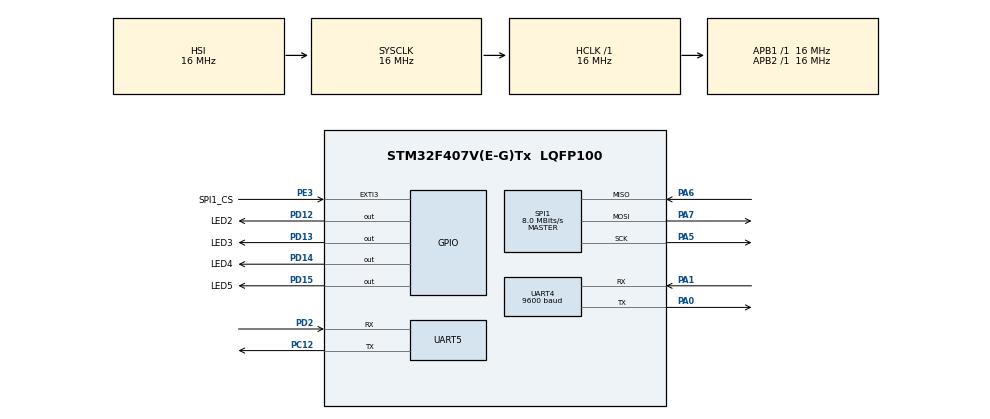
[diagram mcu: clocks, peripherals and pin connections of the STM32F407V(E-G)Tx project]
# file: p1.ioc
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Mcu.Family=STM32F4
Mcu.Name=STM32F407V(E-G)Tx
Mcu.Package=LQFP100
NVIC.PriorityGroup=NVIC_PRIORITYGROUP_4
NVIC.SPI1_IRQn=true\:0\:0\:false\:false\:true\:true\:true\:true
PA0-WKUP.Mode=Asynchronous
PA0-WKUP.Signal=UART4_TX
PA1.Mode=Asynchronous
PA1.Signal=UART4_RX
PA13.Mode=Serial_Wire
PA13.Signal=SYS_JTMS-SWDIO
PA14.Mode=Serial_Wire
PA14.Signal=SYS_JTCK-SWCLK
PA5.Mode=Full_Duplex_Master
PA5.Signal=SPI1_SCK
PA6.Mode=Full_Duplex_Master
PA6.Signal=SPI1_MISO
PA7.Mode=Full_Duplex_Master
PA7.Signal=SPI1_MOSI
PC12.Mode=Asynchronous
PC12.Signal=UART5_TX
PD12.GPIO_Label=LED2
PD12.Signal=GPIO_Output
PD13.GPIO_Label=LED3
PD13.Signal=GPIO_Output
PD14.GPIO_Label=LED4
PD14.Signal=GPIO_Output
PD15.GPIO_Label=LED5
PD15.Signal=GPIO_Output
PD2.Mode=Asynchronous
PD2.Signal=UART5_RX
PE3.GPIO_Label=SPI1_CS
PE3.GPIO_PuPd=GPIO_PULLUP
PE3.Signal=GPXTI3
ProjectManager.HeapSize=0x200
ProjectManager.StackSize=0x400
ProjectManager.TargetToolchain=STM32CubeIDE
RCC.AHBFreq_Value=16000000
RCC.APB1Freq_Value=16000000
RCC.APB2Freq_Value=16000000
RCC.CortexFreq_Value=16000000
RCC.HSE_VALUE=25000000
RCC.HSI_VALUE=16000000
RCC.LSE_VALUE=32768
RCC.SYSCLKFreq_VALUE=16000000
RCC.VCOOutputFreq_Value=192000000
SPI1.CalculateBaudRate=8.0 MBits/s
SPI1.Direction=SPI_DIRECTION_2LINES
SPI1.Mode=SPI_MODE_MASTER
SPI1.VirtualType=VM_MASTER
UART4.BaudRate=9600
UART4.VirtualMode=Asynchronous
UART5.VirtualMode=Asynchronous
board=custom

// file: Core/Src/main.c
/* USER CODE BEGIN Header */
/**
  ******************************************************************************
  * @file           : main.c
  * @brief          : Main program body with UART4 for GPS reception (baud rate 9600)
  *                   and UART5 for ESP32 transmission.
  ******************************************************************************
  * @attention
  *
  * Copyright (c) 2024 STMicroelectronics.
  * All rights reserved.
  *
  * This software is licensed under terms that can be found in the LICENSE file
  * in the root directory of this software component.
  * If no LICENSE file comes with this software, it is provided AS-IS.
  *
  ******************************************************************************
  */
/* USER CODE END Header */
#include "main.h"

/* USER CODE BEGIN Includes */
#include "string.h"
#include <stdio.h>
/* USER CODE END Includes */

/* USER CODE BEGIN PD */
#define ACCEL_THRESHOLD 100  // Define your threshold value here
/* USER CODE END PD */

SPI_HandleTypeDef hspi1;
UART_HandleTypeDef huart4;  // For receiving GPS data from Arduino Uno
UART_HandleTypeDef huart5;  // For transmitting data to ESP32

/* USER CODE BEGIN PV */
uint8_t txbuffer[2];
uint8_t Rx_X;
uint8_t Rx_Y;
uint8_t Rx_Z;
char charbuffer[100];  // Increased buffer size to avoid overflow warnings
/* USER CODE END PV */

void SystemClock_Config(void);
static void MX_GPIO_Init(void);
static void MX_SPI1_Init(void);
static void MX_UART4_Init(void);
static void MX_UART5_Init(void);

int main(void)
{

  /* MCU Configuration--------------------------------------------------------*/
  HAL_Init();

  SystemClock_Config();

  MX_GPIO_Init();
  MX_SPI1_Init();
  MX_UART4_Init();  // For receiving GPS data from Arduino Uno (baud rate 9600)
  MX_UART5_Init();  // For transmitting data to ESP32

  /* USER CODE BEGIN 2 */
  /* Initial configuration of the sensor (SPI setup) */
  HAL_GPIO_WritePin(SPI1_CS_GPIO_Port, SPI1_CS_Pin, GPIO_PIN_RESET); // CS Pulled Low
  txbuffer[0] = 0x20; // Control Register 4
  txbuffer[1] = 0x37; // Configuration data
  HAL_SPI_Transmit(&hspi1, txbuffer, 2, 50);
  HAL_GPIO_WritePin(SPI1_CS_GPIO_Port, SPI1_CS_Pin, GPIO_PIN_SET); // CS Pulled High
  /* USER CODE END 2 */

  /* Infinite loop */
  /* USER CODE BEGIN WHILE */
  while (1)
  {
      /* --- Read Accelerometer Data via SPI --- */

      // Read the OUT_X register
      HAL_GPIO_WritePin(GPIOE, SPI1_CS_Pin, GPIO_PIN_RESET); // CS Pulled Low
      txbuffer[0] = 0x29 | 0x80; // Read operation (MSB = 1)
      HAL_SPI_Transmit(&hspi1, txbuffer, 1, 50);
      HAL_SPI_Receive(&hspi1, &Rx_X, 1, 50);
      HAL_GPIO_WritePin(GPIOE, SPI1_CS_Pin, GPIO_PIN_SET); // CS Pulled High

      // Read the OUT_Y register
      HAL_GPIO_WritePin(GPIOE, SPI1_CS_Pin, GPIO_PIN_RESET); // CS Pulled Low
      txbuffer[0] = 0x2B | 0x80; // Read operation (MSB = 1)
      HAL_SPI_Transmit(&hspi1, txbuffer, 1, 50);
      HAL_SPI_Receive(&hspi1, &Rx_Y, 1, 50);
      HAL_GPIO_WritePin(GPIOE, SPI1_CS_Pin, GPIO_PIN_SET); // CS Pulled High

      // Read the OUT_Z register
      HAL_GPIO_WritePin(GPIOE, SPI1_CS_Pin, GPIO_PIN_RESET); // CS Pulled Low
      txbuffer[0] = 0x2D | 0x80; // Read operation (MSB = 1)
      HAL_SPI_Transmit(&hspi1, txbuffer, 1, 50);
      HAL_SPI_Receive(&hspi1, &Rx_Z, 1, 50);
      HAL_GPIO_WritePin(GPIOE, SPI1_CS_Pin, GPIO_PIN_SET); // CS Pulled High

      /* --- Check Accelerometer Threshold --- */
      if (Rx_X > ACCEL_THRESHOLD || Rx_Y > ACCEL_THRESHOLD || Rx_Z > ACCEL_THRESHOLD)
      {
          // Accident detected!
          // Receive GPS location data from Arduino Uno via UART4.
          char gpsBuffer[100] = {0};
          // Using a blocking receive (timeout: 1000ms). Adjust as necessary.
          HAL_UART_Receive(&huart4, (uint8_t *)gpsBuffer, sizeof(gpsBuffer) - 1, 1000);

          // Prepare the accident message including the GPS location.
          sprintf(charbuffer, "Accident happened at %s\r\n", gpsBuffer);
          printf("Accident Happened %s\n", gpsBuffer);
          // Transmit the message to the ESP32 using UART5.
          HAL_UART_Transmit(&huart5, (uint8_t *)charbuffer, strlen(charbuffer), 100);
      }
      /*
      else
      {
          // No accident: send the current accelerometer data to ESP32.
          sprintf(charbuffer, "You are alive!\n");
          HAL_UART_Transmit(&huart5, (uint8_t *)charbuffer, strlen(charbuffer), 50);
      }
      */
      bzero(charbuffer, sizeof(charbuffer));

      /* --- LED Motion : Quadrant --- */
      if (Rx_X == 0 && Rx_Y == 0 && Rx_Z == 64)
      {
          HAL_GPIO_WritePin(GPIOD, LED2_Pin, GPIO_PIN_SET);
          HAL_GPIO_WritePin(GPIOD, LED3_Pin, GPIO_PIN_SET);
          HAL_GPIO_WritePin(GPIOD, LED4_Pin, GPIO_PIN_SET);
          HAL_GPIO_WritePin(GPIOD, LED5_Pin, GPIO_PIN_SET);
          HAL_Delay(100);
      }
      if ((Rx_X > 0 && Rx_X <= 188))
      {
          HAL_GPIO_WritePin(GPIOD, LED2_Pin, GPIO_PIN_RESET);
          HAL_GPIO_WritePin(GPIOD, LED4_Pin, GPIO_PIN_SET);
          HAL_Delay(100);
      }
      if ((Rx_X > 188 && Rx_X <= 255))
      {
          HAL_GPIO_WritePin(GPIOD, LED2_Pin, GPIO_PIN_SET);
          HAL_GPIO_WritePin(GPIOD, LED4_Pin, GPIO_PIN_RESET);
          HAL_Delay(100);
      }
      if ((Rx_Y > 0 && Rx_Y <= 188))
      {
          HAL_GPIO_WritePin(GPIOD, LED3_Pin, GPIO_PIN_SET);
          HAL_GPIO_WritePin(GPIOD, LED5_Pin, GPIO_PIN_RESET);
          HAL_Delay(100);
      }
      if ((Rx_Y > 188 && Rx_Y <= 255))
      {
          HAL_GPIO_WritePin(GPIOD, LED3_Pin, GPIO_PIN_RESET);
          HAL_GPIO_WritePin(GPIOD, LED5_Pin, GPIO_PIN_SET);
          HAL_Delay(100);
      }

      /* --- LED Motion : Axis --- */
      if (Rx_X == 0 && Rx_Y == 0 && Rx_Z == 64)
      {
          HAL_GPIO_WritePin(GPIOD, LED2_Pin, GPIO_PIN_SET);
          HAL_GPIO_WritePin(GPIOD, LED3_Pin, GPIO_PIN_SET);
          HAL_GPIO_WritePin(GPIOD, LED4_Pin, GPIO_PIN_SET);
          HAL_GPIO_WritePin(GPIOD, LED5_Pin, GPIO_PIN_SET);
      }
      if (Rx_X > 10)
      {
          HAL_GPIO_WritePin(GPIOD, LED2_Pin, GPIO_PIN_SET);
          HAL_GPIO_WritePin(GPIOD, LED3_Pin, GPIO_PIN_RESET);
          HAL_GPIO_WritePin(GPIOD, LED4_Pin, GPIO_PIN_SET);
          HAL_GPIO_WritePin(GPIOD, LED5_Pin, GPIO_PIN_RESET);
      }
      if (Rx_Y > 10)
      {
          HAL_GPIO_WritePin(GPIOD, LED2_Pin, GPIO_PIN_RESET);
          HAL_GPIO_WritePin(GPIOD, LED3_Pin, GPIO_PIN_SET);
          HAL_GPIO_WritePin(GPIOD, LED4_Pin, GPIO_PIN_RESET);
          HAL_GPIO_WritePin(GPIOD, LED5_Pin, GPIO_PIN_SET);
      }
  /* USER CODE END WHILE */

  }
}

void SystemClock_Config(void)
{
  RCC_OscInitTypeDef RCC_OscInitStruct = {0};
  RCC_ClkInitTypeDef RCC_ClkInitStruct = {0};

  /** Configure the main internal regulator output voltage */
  __HAL_RCC_PWR_CLK_ENABLE();
  __HAL_PWR_VOLTAGESCALING_CONFIG(PWR_REGULATOR_VOLTAGE_SCALE1);

  /** Initializes the RCC Oscillators according to the specified parameters
    * in the RCC_OscInitTypeDef structure.
    */
  RCC_OscInitStruct.OscillatorType = RCC_OSCILLATORTYPE_HSI;
  RCC_OscInitStruct.HSIState = RCC_HSI_ON;
  RCC_OscInitStruct.HSICalibrationValue = RCC_HSICALIBRATION_DEFAULT;
  RCC_OscInitStruct.PLL.PLLState = RCC_PLL_NONE;
  if (HAL_RCC_OscConfig(&RCC_OscInitStruct) != HAL_OK)
  {
    Error_Handler();
  }
  /** Initializes the CPU, AHB and APB buses clocks */
  RCC_ClkInitStruct.ClockType = RCC_CLOCKTYPE_HCLK|RCC_CLOCKTYPE_SYSCLK
                              |RCC_CLOCKTYPE_PCLK1|RCC_CLOCKTYPE_PCLK2;
  RCC_ClkInitStruct.SYSCLKSource = RCC_SYSCLKSOURCE_HSI;
  RCC_ClkInitStruct.AHBCLKDivider = RCC_SYSCLK_DIV1;
  RCC_ClkInitStruct.APB1CLKDivider = RCC_HCLK_DIV1;
  RCC_ClkInitStruct.APB2CLKDivider = RCC_HCLK_DIV1;
  if (HAL_RCC_ClockConfig(&RCC_ClkInitStruct, FLASH_LATENCY_0) != HAL_OK)
  {
    Error_Handler();
  }
}

static void MX_SPI1_Init(void)
{
  /* SPI1 parameter configuration */
  hspi1.Instance = SPI1;
  hspi1.Init.Mode = SPI_MODE_MASTER;
  hspi1.Init.Direction = SPI_DIRECTION_2LINES;
  hspi1.Init.DataSize = SPI_DATASIZE_8BIT;
  hspi1.Init.CLKPolarity = SPI_POLARITY_LOW;
  hspi1.Init.CLKPhase = SPI_PHASE_1EDGE;
  hspi1.Init.NSS = SPI_NSS_SOFT;
  hspi1.Init.BaudRatePrescaler = SPI_BAUDRATEPRESCALER_2;
  hspi1.Init.FirstBit = SPI_FIRSTBIT_MSB;
  hspi1.Init.TIMode = SPI_TIMODE_DISABLE;
  hspi1.Init.CRCCalculation = SPI_CRCCALCULATION_DISABLE;
  hspi1.Init.CRCPolynomial = 10;
  if (HAL_SPI_Init(&hspi1) != HAL_OK)
  {
    Error_Handler();
  }
}

static void MX_UART4_Init(void)
{
  huart4.Instance = UART4;
  huart4.Init.BaudRate = 9600;           // Updated baud rate for UART4
  huart4.Init.WordLength = UART_WORDLENGTH_8B;
  huart4.Init.StopBits = UART_STOPBITS_1;
  huart4.Init.Parity = UART_PARITY_NONE;
  huart4.Init.Mode = UART_MODE_TX_RX;
  huart4.Init.HwFlowCtl = UART_HWCONTROL_NONE;
  huart4.Init.OverSampling = UART_OVERSAMPLING_16;
  if (HAL_UART_Init(&huart4) != HAL_OK)
  {
    Error_Handler();
  }
}

static void MX_UART5_Init(void)
{
  huart5.Instance = UART5;
  huart5.Init.BaudRate = 115200;
  huart5.Init.WordLength = UART_WORDLENGTH_8B;
  huart5.Init.StopBits = UART_STOPBITS_1;
  huart5.Init.Parity = UART_PARITY_NONE;
  huart5.Init.Mode = UART_MODE_TX_RX;
  huart5.Init.HwFlowCtl = UART_HWCONTROL_NONE;
  huart5.Init.OverSampling = UART_OVERSAMPLING_16;
  if (HAL_UART_Init(&huart5) != HAL_OK)
  {
    Error_Handler();
  }
}

static void MX_GPIO_Init(void)
{
  GPIO_InitTypeDef GPIO_InitStruct = {0};

  /* GPIO Ports Clock Enable */
  __HAL_RCC_GPIOE_CLK_ENABLE();
  __HAL_RCC_GPIOA_CLK_ENABLE();
  __HAL_RCC_GPIOD_CLK_ENABLE();

  /*Configure GPIO pin Output Level for SPI1_CS */
  HAL_GPIO_WritePin(SPI1_CS_GPIO_Port, SPI1_CS_Pin, GPIO_PIN_RESET);

  /*Configure GPIO pin Output Level for LEDs */
  HAL_GPIO_WritePin(GPIOD, LED2_Pin|LED3_Pin|LED4_Pin|LED5_Pin, GPIO_PIN_RESET);

  /*Configure GPIO pin : SPI1_CS_Pin */
  GPIO_InitStruct.Pin = SPI1_CS_Pin;
  GPIO_InitStruct.Mode = GPIO_MODE_OUTPUT_PP;
  GPIO_InitStruct.Pull = GPIO_NOPULL;
  GPIO_InitStruct.Speed = GPIO_SPEED_FREQ_LOW;
  HAL_GPIO_Init(SPI1_CS_GPIO_Port, &GPIO_InitStruct);

  /*Configure GPIO pins : LED2_Pin LED3_Pin LED4_Pin LED5_Pin */
  GPIO_InitStruct.Pin = LED2_Pin|LED3_Pin|LED4_Pin|LED5_Pin;
  GPIO_InitStruct.Mode = GPIO_MODE_OUTPUT_PP;
  GPIO_InitStruct.Pull = GPIO_NOPULL;
  GPIO_InitStruct.Speed = GPIO_SPEED_FREQ_LOW;
  HAL_GPIO_Init(GPIOD, &GPIO_InitStruct);
}

void Error_Handler(void)
{
  __disable_irq();
  while (1)
  {
  }
}
